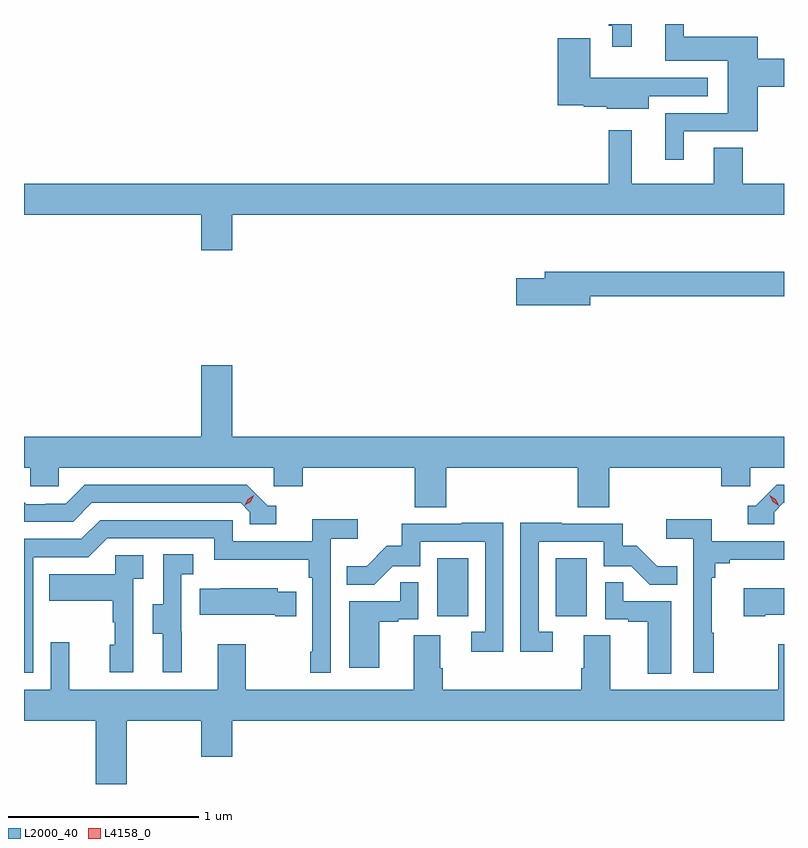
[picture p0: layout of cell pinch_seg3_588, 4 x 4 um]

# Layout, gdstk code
import gdstk
lib = gdstk.Library(unit=1e-6, precision=1e-09)
def R(c, l, rs):  # rectangles x0, y0, x1, y1
    for r in rs: c.add(gdstk.rectangle(r[:2], r[2:], *l))
def P(c, l, *ps):  # polygons
    for p in ps: c.add(gdstk.Polygon(p, *l))
L2000_40 = (2000, 40)
L4158_0 = (4158, 0)

pinch_seg3_588 = lib.new_cell('pinch_seg3_588')
R(pinch_seg3_588, L2000_40, [(1077.338,697.47,1077.502,697.777), (1077.962,697.47,1078.126,697.777)])
P(pinch_seg3_588, L2000_40, [(1078.636,700.023),(1079.027,700.023),(1079.027,700.259),(1079.164,700.259),(1079.164,700.406),(1079.027,700.406),(1079.027,700.522),(1078.636,700.522),(1078.636,700.588),(1078.538,700.588),(1078.538,700.394),(1078.868,700.394),(1078.868,700.119),(1078.538,700.119),(1078.538,699.873),(1078.636,699.873)],
  [(1078.363,700.588),(1078.242,700.588),(1078.242,700.579),(1078.259,700.579),(1078.259,700.467),(1078.363,700.467)],
  [(1078.453,700.209),(1078.762,700.209),(1078.762,700.305),(1078.449,700.305),(1078.449,700.306),(1078.144,700.306),(1078.144,700.513),(1077.974,700.513),(1077.974,700.16),(1078.11,700.16),(1078.11,700.153),(1078.23,700.153),(1078.23,700.142),(1078.453,700.142)],
  [(1076.26,699.584),(1079.164,699.584),(1079.164,699.748),(1078.946,699.748),(1078.946,699.938),(1078.793,699.938),(1078.793,699.748),(1078.363,699.748),(1078.363,700.03),(1078.242,700.03),(1078.242,699.748),(1075.164,699.748),(1075.164,699.584),(1076.096,699.584),(1076.096,699.396),(1076.26,699.396)],
  [(1078.144,699.154),(1079.164,699.154),(1079.164,699.283),(1077.905,699.283),(1077.905,699.249),(1077.756,699.249),(1077.756,699.107),(1078.144,699.107)],
  [(1077.386,698.252),(1078.079,698.252),(1078.079,698.044),(1078.244,698.044),(1078.244,698.252),(1078.835,698.252),(1078.835,698.154),(1078.986,698.154),(1078.986,698.252),(1079.164,698.252),(1079.164,698.416),(1076.26,698.416),(1076.26,698.791),(1076.096,698.791),(1076.096,698.416),(1075.164,698.416),(1075.164,698.252),(1075.197,698.252),(1075.197,698.154),(1075.347,698.154),(1075.347,698.252),(1076.478,698.252),(1076.478,698.154),(1076.63,698.154),(1076.63,698.252),(1077.221,698.252),(1077.221,698.044),(1077.386,698.044)],
  [(1079.112,698.019),(1079.16,698.067),(1079.164,698.067),(1079.164,698.163),(1079.127,698.163),(1079.016,698.052),(1078.973,698.052),(1078.973,697.956),(1079.112,697.956)],
  [(1076.491,698.052),(1076.448,698.052),(1076.337,698.163),(1075.484,698.163),(1075.385,698.064),(1075.278,698.064),(1075.278,698.061),(1075.175,698.061),(1075.164,698.072),(1075.164,697.968),(1075.422,697.968),(1075.521,698.067),(1076.304,698.067),(1076.352,698.019),(1076.352,697.956),(1076.491,697.956)],
  [(1075.212,697.782),(1075.503,697.782),(1075.602,697.881),(1076.166,697.881),(1076.166,697.769),(1076.662,697.769),(1076.662,697.673),(1076.682,697.673),(1076.682,697.285),(1076.67,697.285),(1076.67,697.173),(1076.778,697.173),(1076.778,697.88),(1076.92,697.88),(1076.92,697.982),(1076.681,697.982),(1076.681,697.866),(1076.262,697.866),(1076.262,697.977),(1075.565,697.977),(1075.466,697.878),(1075.164,697.878),(1075.164,697.173),(1075.212,697.173)],
  [(1078.795,697.385),(1078.783,697.385),(1078.783,697.673),(1078.802,697.673),(1078.802,697.75),(1078.879,697.75),(1078.879,697.769),(1079.164,697.769),(1079.164,697.866),(1078.784,697.866),(1078.784,697.982),(1078.545,697.982),(1078.545,697.88),(1078.686,697.88),(1078.686,697.173),(1078.795,697.173)],
  [(1077.946,697.389),(1077.873,697.389),(1077.873,697.863),(1078.215,697.863),(1078.215,697.734),(1078.36,697.734),(1078.458,697.636),(1078.601,697.636),(1078.601,697.735),(1078.497,697.735),(1078.39,697.842),(1078.314,697.842),(1078.314,697.959),(1077.995,697.959),(1077.995,697.964),(1077.777,697.964),(1077.777,697.284),(1077.946,697.284)],
  [(1077.687,697.964),(1077.469,697.964),(1077.469,697.959),(1077.151,697.959),(1077.151,697.842),(1077.074,697.842),(1076.967,697.735),(1076.863,697.735),(1076.863,697.636),(1077.007,697.636),(1077.105,697.734),(1077.249,697.734),(1077.249,697.863),(1077.591,697.863),(1077.591,697.389),(1077.519,697.389),(1077.519,697.284),(1077.687,697.284)],
  [(1075.994,697.389),(1075.992,697.389),(1075.992,697.693),(1076.056,697.693),(1076.056,697.796),(1075.896,697.796),(1075.896,697.533),(1075.841,697.533),(1075.841,697.378),(1075.895,697.378),(1075.895,697.176),(1075.994,697.176)],
  [(1075.74,697.667),(1075.792,697.667),(1075.792,697.791),(1075.644,697.791),(1075.644,697.693),(1075.297,697.693),(1075.297,697.553),(1075.632,697.553),(1075.632,697.439),(1075.642,697.439),(1075.642,697.32),(1075.616,697.32),(1075.616,697.176),(1075.74,697.176)],
  [(1077.034,697.443),(1077.134,697.443),(1077.134,697.455),(1077.24,697.455),(1077.24,697.649),(1077.145,697.649),(1077.145,697.551),(1076.876,697.551),(1076.876,697.2),(1077.034,697.2)],
  [(1078.57,697.551),(1078.319,697.551),(1078.319,697.649),(1078.224,697.649),(1078.224,697.455),(1078.345,697.455),(1078.345,697.443),(1078.448,697.443),(1078.448,697.169),(1078.57,697.169)],
  [(1079.065,697.478),(1079.164,697.478),(1079.164,697.618),(1078.953,697.618),(1078.953,697.471),(1079.065,697.471)],
  [(1076.597,697.6),(1076.499,697.6),(1076.499,697.618),(1076.197,697.618),(1076.197,697.615),(1076.089,697.615),(1076.089,697.478),(1076.486,697.478),(1076.486,697.471),(1076.597,697.471)],
  [(1075.705,696.92),(1076.096,696.92),(1076.096,696.732),(1076.26,696.732),(1076.26,696.92),(1079.164,696.92),(1079.164,697.324),(1079.134,697.324),(1079.134,697.084),(1078.249,697.084),(1078.249,697.37),(1078.109,697.37),(1078.109,697.196),(1078.097,697.196),(1078.097,697.084),(1077.368,697.084),(1077.368,697.196),(1077.355,697.196),(1077.355,697.37),(1077.215,697.37),(1077.215,697.084),(1076.331,697.084),(1076.331,697.324),(1076.183,697.324),(1076.183,697.084),(1075.403,697.084),(1075.403,697.333),(1075.305,697.333),(1075.305,697.084),(1075.164,697.084),(1075.164,696.92),(1075.541,696.92),(1075.541,696.588),(1075.705,696.588)])
P(pinch_seg3_588, L4158_0, [(1076.327,698.054),(1076.327,698.054),(1076.342,698.087),(1076.373,698.107),(1076.373,698.107),(1076.373,698.107),(1076.357,698.074),(1076.327,698.054)],
  [(1079.136,698.053),(1079.106,698.074),(1079.09,698.107),(1079.09,698.107),(1079.09,698.107),(1079.121,698.087),(1079.137,698.054),(1079.137,698.053)])

lib.write_gds('pinch_seg3_588.gds')
